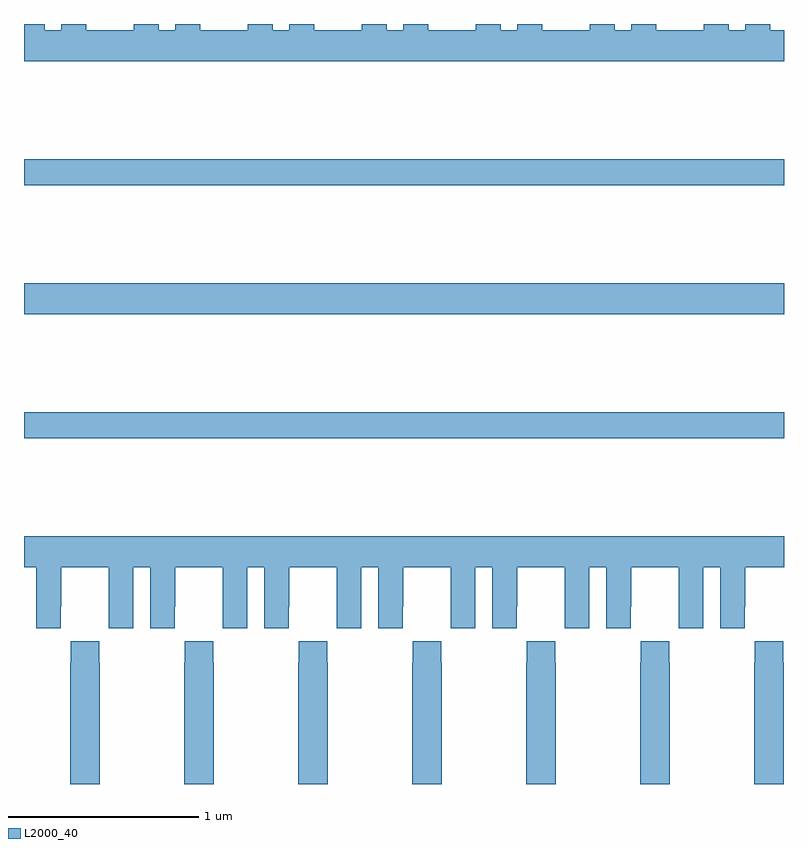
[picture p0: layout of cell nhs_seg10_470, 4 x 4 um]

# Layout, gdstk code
import gdstk
lib = gdstk.Library(unit=1e-6, precision=1e-09)
def R(c, l, rs):  # rectangles x0, y0, x1, y1
    for r in rs: c.add(gdstk.rectangle(r[:2], r[2:], *l))
def P(c, l, *ps):  # polygons
    for p in ps: c.add(gdstk.Polygon(p, *l))
L2000_40 = (2000, 40)

nhs_seg10_470 = lib.new_cell('nhs_seg10_470')
R(nhs_seg10_470, L2000_40, [(133,1310.32,137,1310.456), (133,1310.972,137,1311.136), (133,1311.652,137,1311.788)])
P(nhs_seg10_470, L2000_40, [(137,1312.468),(136.927,1312.468),(136.927,1312.5),(136.796,1312.5),(136.796,1312.468),(136.708,1312.468),(136.708,1312.5),(136.577,1312.5),(136.577,1312.468),(136.327,1312.468),(136.327,1312.5),(136.196,1312.5),(136.196,1312.468),(136.108,1312.468),(136.108,1312.5),(135.977,1312.5),(135.977,1312.468),(135.727,1312.468),(135.727,1312.5),(135.596,1312.5),(135.596,1312.468),(135.508,1312.468),(135.508,1312.5),(135.377,1312.5),(135.377,1312.468),(135.127,1312.468),(135.127,1312.5),(134.996,1312.5),(134.996,1312.468),(134.908,1312.468),(134.908,1312.5),(134.777,1312.5),(134.777,1312.468),(134.527,1312.468),(134.527,1312.5),(134.396,1312.5),(134.396,1312.468),(134.308,1312.468),(134.308,1312.5),(134.177,1312.5),(134.177,1312.468),(133.927,1312.468),(133.927,1312.5),(133.796,1312.5),(133.796,1312.468),(133.708,1312.468),(133.708,1312.5),(133.577,1312.5),(133.577,1312.468),(133.327,1312.468),(133.327,1312.5),(133.196,1312.5),(133.196,1312.468),(133.108,1312.468),(133.108,1312.5),(133,1312.5),(133,1312.304),(137,1312.304)],
  [(133,1309.64),(133.064,1309.64),(133.064,1309.32),(133.194,1309.32),(133.194,1309.432),(133.195,1309.432),(133.195,1309.64),(133.445,1309.64),(133.445,1309.432),(133.446,1309.432),(133.446,1309.32),(133.576,1309.32),(133.576,1309.64),(133.664,1309.64),(133.664,1309.32),(133.794,1309.32),(133.794,1309.432),(133.795,1309.432),(133.795,1309.64),(134.045,1309.64),(134.045,1309.432),(134.046,1309.432),(134.046,1309.32),(134.176,1309.32),(134.176,1309.64),(134.264,1309.64),(134.264,1309.32),(134.394,1309.32),(134.394,1309.432),(134.395,1309.432),(134.395,1309.64),(134.645,1309.64),(134.645,1309.432),(134.646,1309.432),(134.646,1309.32),(134.776,1309.32),(134.776,1309.64),(134.864,1309.64),(134.864,1309.32),(134.994,1309.32),(134.994,1309.432),(134.995,1309.432),(134.995,1309.64),(135.245,1309.64),(135.245,1309.432),(135.246,1309.432),(135.246,1309.32),(135.376,1309.32),(135.376,1309.64),(135.464,1309.64),(135.464,1309.32),(135.594,1309.32),(135.594,1309.432),(135.595,1309.432),(135.595,1309.64),(135.845,1309.64),(135.845,1309.432),(135.846,1309.432),(135.846,1309.32),(135.976,1309.32),(135.976,1309.64),(136.064,1309.64),(136.064,1309.32),(136.194,1309.32),(136.194,1309.432),(136.195,1309.432),(136.195,1309.64),(136.445,1309.64),(136.445,1309.432),(136.446,1309.432),(136.446,1309.32),(136.576,1309.32),(136.576,1309.64),(136.664,1309.64),(136.664,1309.32),(136.794,1309.32),(136.794,1309.432),(136.795,1309.432),(136.795,1309.64),(137,1309.64),(137,1309.804),(133,1309.804)],
  [(135.045,1309.139),(135.043,1309.139),(135.043,1308.5),(135.198,1308.5),(135.198,1309.139),(135.195,1309.139),(135.195,1309.252),(135.045,1309.252)],
  [(135.798,1309.139),(135.795,1309.139),(135.795,1309.252),(135.645,1309.252),(135.645,1309.139),(135.643,1309.139),(135.643,1308.5),(135.798,1308.5)],
  [(136.398,1309.139),(136.395,1309.139),(136.395,1309.252),(136.245,1309.252),(136.245,1309.139),(136.243,1309.139),(136.243,1308.5),(136.398,1308.5)],
  [(136.998,1309.139),(136.995,1309.139),(136.995,1309.252),(136.845,1309.252),(136.845,1309.139),(136.843,1309.139),(136.843,1308.5),(136.998,1308.5)],
  [(134.598,1309.139),(134.595,1309.139),(134.595,1309.252),(134.445,1309.252),(134.445,1309.139),(134.443,1309.139),(134.443,1308.5),(134.598,1308.5)],
  [(133.998,1309.139),(133.995,1309.139),(133.995,1309.252),(133.845,1309.252),(133.845,1309.139),(133.843,1309.139),(133.843,1308.5),(133.998,1308.5)],
  [(133.398,1309.139),(133.395,1309.139),(133.395,1309.252),(133.245,1309.252),(133.245,1309.139),(133.243,1309.139),(133.243,1308.5),(133.398,1308.5)])

lib.write_gds('nhs_seg10_470.gds')
